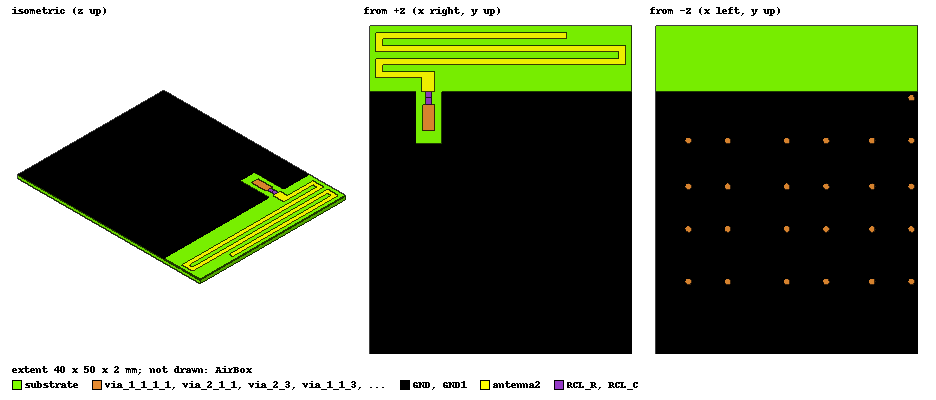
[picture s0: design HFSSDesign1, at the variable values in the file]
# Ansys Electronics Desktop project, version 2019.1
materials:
  vacuum: permittivity=1
  FR4_epoxy: permittivity=4.4 dielectric_loss_tangent=0.02
  copper: permeability=0.999991 conductivity=58000000
  air: permittivity=1.0006 permeability=1.0000004

design HFSSDesign1 (HFSS, DrivenTerminal, model units mm)
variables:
  lambda = 96mm
  w = 1mm
  d = 1mm
  h = 3mm
  subh = 1mm
  l1 = 36mm
  l2 = 6mm
  sy = 50mm
  sx = 40mm
  l3 = 28mm
  l4 = 11mm
  w_line = 1.8mm
  l_line = 4mm
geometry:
  substrate [FR4_epoxy] = box(corner=(-l2-w-d, -sy+10mm, 0mm), size=(sx, sy, subh))
  antenna1 = rectangle(corner=(0mm, 0mm, subh), x_size=w*2, y_size=h)
  antenna2 = rectangle(corner=(0mm, h, subh), x_size=-l2, y_size=-w)
  antenna3 = rectangle(corner=(-l2-w, h-w, subh), x_size=w, y_size=h)
  antenna4 = rectangle(corner=(-l2, h*2-w*2, subh), x_size=l1, y_size=w)
  antenna5 = rectangle(corner=(l1-l2, 2*h-2*w, subh), x_size=w, y_size=h)
  antenna4_1 = antenna4.duplicate_along_line(step=(0mm, h-w, 0mm), total=2)
  antenna3_1 = antenna3.duplicate_along_line(step=(0mm, 2*h-2*w, 0mm), total=2)
  antenna6 = rectangle(corner=(-l2, h*4-w*4, subh), x_size=l3, y_size=w)
  GND = rectangle(corner=(-l2-d-w, -sy+10mm, subh), x_size=sx, y_size=sy-10mm)
  port = rectangle(corner=(w-w_line/2, -l_line-2*w, 0mm), z_size=SUBH, x_size=w_line)
  AirBox [air] = box(corner=(-l2-w-d-lambda/2, -sy+10mm-lambda/2, -lambda/2), size=(lambda+sx, lambda+sy, lambda+subh))
  Rectangle1 = rectangle(corner=(-w, 0, subh), x_size=w*4, y_size=-8*w)
  GND.subtract(Rectangle1)
  GND1 = rectangle(corner=(-l2-w-d, 0mm, 0mm), x_size=sx, y_size=-sy+10mm)
  line = rectangle(corner=(w-w_line/2, -w*2, subh), x_size=w_line, y_size=-l_line)
  via [copper] = cylinder(axis=Z, base_centre=(-l2-w, -w, 0mm), radius=w/2, height=-subh)
  via_1 [copper] = via.duplicate_along_line(step=(0mm, -6.5mm, 0mm), total=2)
  via_2 [copper] = via.duplicate_along_line(step=(0mm, -13.5mm, 0mm), total=2)
  via_1_1 [copper] = via_1.duplicate_along_line(step=(0mm, -13.5mm, 0mm), total=2)
  via_2_1 [copper] = via_2.duplicate_along_line(step=(6mm, 0mm, 0mm), total=2)
  via_1_1_1 [copper] = via_1_1.duplicate_along_line(step=(6mm, 0mm, 0mm), total=2)
  via_1_2 [copper] = via_1.duplicate_along_line(step=(6mm, 0mm, 0mm), total=2)
  via_1_3 [copper] = via_1.duplicate_along_line(step=(13mm, 0mm, 0mm), total=2)
  via_2_2 [copper] = via_2.duplicate_along_line(step=(13mm, 0mm, 0mm), total=2)
  via_1_1_2 [copper] = via_1_1.duplicate_along_line(step=(13mm, 0mm, 0mm), total=2)
  via_1_1_1_1 [copper] = via_1_1_1.duplicate_along_line(step=(13mm, 0mm, 0mm), total=2)
  via_2_1_1 [copper] = via_2_1.duplicate_along_line(step=(13mm, 0mm, 0mm), total=2)
  via_1_2_1 [copper] = via_1_2.duplicate_along_line(step=(13mm, 0mm, 0mm), total=2)
  via_1_4 [copper] = via_1.duplicate_along_line(step=(28mm, 0mm, 0mm), total=2)
  via_2_3 [copper] = via_2.duplicate_along_line(step=(28mm, 0mm, 0mm), total=2)
  via_1_1_3 [copper] = via_1_1.duplicate_along_line(step=(28mm, 0mm, 0mm), total=2)
  via_1_1_1_2 [copper] = via_1_1_1.duplicate_along_line(step=(28mm, 0mm, 0mm), total=2)
  via_2_1_2 [copper] = via_2_1.duplicate_along_line(step=(28mm, 0mm, 0mm), total=2)
  via_1_2_2 [copper] = via_1_2.duplicate_along_line(step=(28mm, 0mm, 0mm), total=2)
  via_1_1_1_3 [copper] = via_1_1_1.duplicate_along_line(step=(0mm, -8mm, 0mm), total=2)
  via_1_1_4 [copper] = via_1_1.duplicate_along_line(step=(0mm, -8mm, 0mm), total=2)
  via_1_1_2_1 [copper] = via_1_1_2.duplicate_along_line(step=(0mm, -8mm, 0mm), total=2)
  via_1_1_1_1_1 [copper] = via_1_1_1_1.duplicate_along_line(step=(0mm, -8mm, 0mm), total=2)
  via_1_1_3_1 [copper] = via_1_1_3.duplicate_along_line(step=(0mm, -8mm, 0mm), total=2)
  via_1_1_1_2_1 [copper] = via_1_1_1_2.duplicate_along_line(step=(0mm, -8mm, 0mm), total=2)
  antenna2.unite(antenna3, antenna3_1, antenna4, antenna4_1, antenna5, antenna6, antenna1)
  RCL_R = rectangle(corner=(w/2, 0mm, subh), x_size=w, y_size=-w)
  RCL_C = rectangle(corner=(w/2, -w, subh), x_size=w, y_size=-w)
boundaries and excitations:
  Rad1: Radiation Objects=AirBox
  FiniteCond1: Finite Conductivity Objects=GND UseMaterial Material=copper IsInternal
  FiniteCond2: Finite Conductivity Objects=GND1 UseMaterial Material=copper IsInternal
  RCL_C: Lumped RLC Objects=RCL_C CurrentLine{middle of RCL_C.edge(y opposite corner) -> middle of RCL_C.edge(y at corner)} Capacitance=3.5pF
  RCL_R: Lumped RLC Objects=RCL_R CurrentLine{middle of RCL_R.edge(y opposite corner) -> middle of RCL_R.edge(y at corner)} Resistance=32.9ohm
  FiniteCond3: Finite Conductivity Objects=[antenna2, line] UseMaterial Material=copper IsInternal
  line_T1: Terminal port=1 Edges=line.edge(y opposite corner) TerminalResistance=50ohm
  1: Lumped Port Faces=port.face Impedance=50ohm
  reference conductors: GND1
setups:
  Setup1: HfssDriven Frequency=960MHz MaxDeltaS=0.02 MaximumPasses=10 MinimumPasses=1 MinimumConvergedPasses=1 PercentRefinement=30 BasisOrder=1 PortAccuracy=2
    sweep Sweep: 0.8GHz to 1.1GHz, 451 points; Type=Interpolating InterpTolerance=0.5 InterpMaxSolns=250 PassivityErrorTolerance=0.0001
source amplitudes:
  1:1: 1V 0deg
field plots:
  Vector_Jsurf1: Jsurf over antenna2.face(at (-3, 2.5, 1)) on Setup1 : LastAdaptive at Freq=0.96GHz Phase=0deg
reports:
  Terminal S Parameter Plot 1: dB(St(line_T1,line_T1)) vs Freq on Setup1 : Sweep
